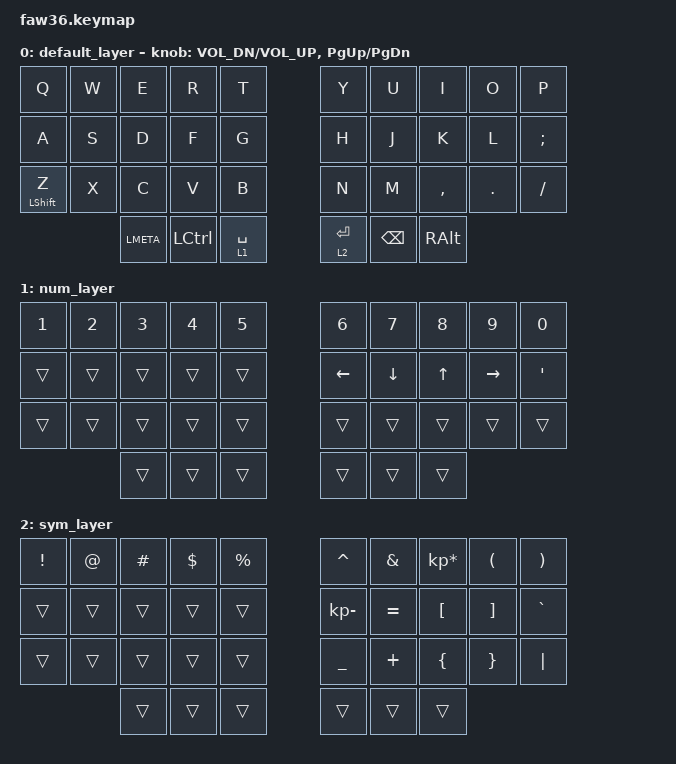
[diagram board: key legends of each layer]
/*
 * Copyright (c) 2020 The ZMK Contributors
 *
 * SPDX-License-Identifier: MIT
 */

#include <behaviors.dtsi>
#include <dt-bindings/zmk/keys.h>
#include <dt-bindings/zmk/bt.h>

#define QWERTY 0
#define NUM 1
#define SYM 2

 / {
        combos {
                compatible = "zmk,combos";
                combo_tab {
                        timeout-ms = <50>;
                        key-positions = <0 1>;
                        bindings = <&kp TAB>;
                };
                combo_esc {
                        timeout-ms = <50>;
                        key-positions = <16 17>;
                        bindings = <&kp ESC>;
                };
        };
};

/ {
    keymap {
        compatible = "zmk,keymap";

        default_layer {
/* Qwerty
 * ,----------------------------------.        ,----------------------------------.
 * |   Q  |   W  |   E  |   R  |   T  |        |   Y  |   U  |   I  |   O  |   P  |
 * |------+------+------+------+------|        |------+------+------+------+------|
 * |   A  |   S  |   D  |   F  |   G  |        |   H  |   J  |   K  |   L  |   ;  |
 * |------+------+------+------+------|        |------+------+------+------+------|
 * |   Z  |   X  |   C  |   V  |   B  |        |   N  |   M  |   ,  |   .  |   /  |
 * `-------------+------+------+------|        |------+------+------+-------------'
 *               |META |LCTRL | Space|        | RET |BACKSPACE |RALT |
 *               `--------------------'        `--------------------'
 */
                        bindings = <
    &kp Q       &kp W       &kp E       &kp R       &kp T       &kp Y    &kp U      &kp I  &kp O &kp P
    &kp A       &kp S       &kp D       &kp F       &kp G       &kp H    &kp J      &kp K  &kp L &kp SEMI
    &mt LSHFT Z &kp X       &kp C       &kp V       &kp B       &kp N    &kp M      &kp COMMA   &kp PERIOD &kp FSLH
                            &kp LMETA &kp LCTRL    &lt 1 SPACE  &lt 2 RET &kp BACKSPACE &kp RALT
                >;
            sensor-bindings = <&inc_dec_kp C_VOL_DN C_VOL_UP &inc_dec_kp PG_UP PG_DN>;
        };
        num_layer {
/* Numbers
 * ,----------------------------------.        ,----------------------------------.
 * |   1  |   2  |   3  |   4  |   5  |        |   6  |   7  |   8  |   9  |   0  |
 * |------+------+------+------+------|        |------+------+------+------+------|
 * |      |      |      |      |      |        | LEFT |DOWN  | UP | RIGT |   ;    |
 * |------+------+------+------+------|        |------+------+------+------+------|
 * |      |      |      |      |      |        |      |      |      |      |      |
 * `-------------+------+------+------|        |------+------+------+-------------'
 *               |META |LCTRL | Space|        | RET |BACKSPACE |RALT |
 *               `--------------------'        `--------------------'
 */
                        bindings = <
    &kp N1 &kp N2 &kp N3  &kp N4 &kp N5     &kp N6 &kp N7 &kp N8 &kp N9 &kp N0
    &trans &trans &trans  &trans &trans     &kp LEFT &kp DOWN &kp UP &kp RIGHT &kp SQT
    &trans &trans &trans  &trans &trans     &trans &trans &trans &trans &trans
                  &trans &trans &trans      &trans &trans &trans
                >;
        };
        sym_layer {
/* Symbols
 * ,----------------------------------.        ,----------------------------------.
 * |   !  |   @   |  # |   $  |   %  |        |   ^   | &     | *     |  ()     |      |
 * |------+------+------+------+------|        |------+------+------+------+------|
 * |   {  |   }  |   -  |   =  |      |        |   -   | =     | [     |   ]   | `     |
 * |------+------+------+------+------|        |------+------+------+------+------|
 * |   [  |   ]  |   (  |   )  |      |        |    _  |   +   | {     | }     |  |    |
 * `-------------+------+------+------|        |------+------+------+-------------'
 *               |      |      |      |        |      |      |      |
 *               `--------------------'        `--------------------'
 */
                        bindings = <
    &kp EXCL &kp AT &kp HASH &kp DLLR &kp PRCNT  &kp CARET &kp AMPS &kp KP_MULTIPLY &kp LPAR &kp RPAR
    &trans   &trans &trans &trans &trans         &kp KP_MINUS &kp EQUAL &kp LBKT &kp RBKT &kp GRAVE
    &trans   &trans &trans &trans &trans         &kp UNDER &kp PLUS  &kp LBRC &kp RBRC &kp PIPE
                    &trans &trans &trans         &trans &trans &trans
                >;
        };
    };
};
